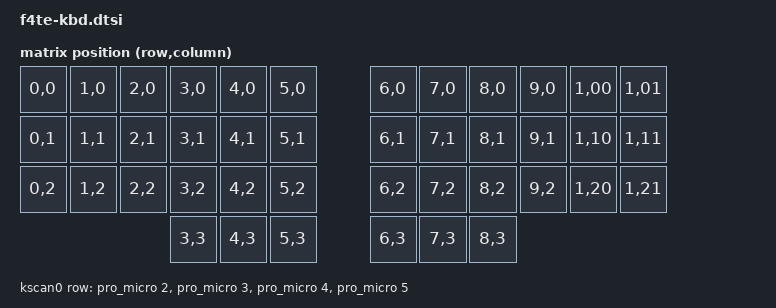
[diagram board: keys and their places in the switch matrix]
/*
 * Copyright (c) 2020 Pete Johanson
 *
 * SPDX-License-Identifier: MIT
 */

#include <dt-bindings/zmk/matrix_transform.h>

#include <layouts/foostan/corne/6column.dtsi>

&foostan_corne_6col_layout {
    transform = <&default_transform>;
};

/ {
    chosen {
        zmk,kscan = &kscan0;
        zmk,physical-layout = &foostan_corne_6col_layout;
    };

    default_transform: keymap_transform_0 {
        compatible = "zmk,matrix-transform";
        columns = <12>;
        rows = <4>;
// | SW1  | SW2  | SW3  | SW4  | SW5  | SW6  |   | SW6  | SW5  | SW4  | SW3  | SW2  | SW1  |
// | SW7  | SW8  | SW9  | SW10 | SW11 | SW12 |   | SW12 | SW11 | SW10 | SW9  | SW8  | SW7  |
// | SW13 | SW14 | SW15 | SW16 | SW17 | SW18 |   | SW18 | SW17 | SW16 | SW15 | SW14 | SW13 |
//                      | SW19 | SW20 | SW21 |   | SW21 | SW20 | SW19 |
        map = <
RC(0,0) RC(1,0) RC(2,0) RC(3,0) RC(4,0) RC(5,0)  RC(6,0) RC(7,0) RC(8,0) RC(9,0) RC(1,00) RC(1,01)
RC(0,1) RC(1,1) RC(2,1) RC(3,1) RC(4,1) RC(5,1)  RC(6,1) RC(7,1) RC(8,1) RC(9,1) RC(1,10) RC(1,11)
RC(0,2) RC(1,2) RC(2,2) RC(3,2) RC(4,2) RC(5,2)  RC(6,2) RC(7,2) RC(8,2) RC(9,2) RC(1,20) RC(1,21)
                        RC(3,3) RC(4,3) RC(5,3)  RC(6,3) RC(7,3) RC(8,3)
        >;
    };

    kscan0: kscan {
        compatible = "zmk,kscan-gpio-matrix";
        wakeup-source;

        diode-direction = "col2row";
        row-gpios
            = <&pro_micro 2 (GPIO_ACTIVE_HIGH | GPIO_PULL_DOWN)>
            , <&pro_micro 3 (GPIO_ACTIVE_HIGH | GPIO_PULL_DOWN)>
            , <&pro_micro 4 (GPIO_ACTIVE_HIGH | GPIO_PULL_DOWN)>
            , <&pro_micro 5 (GPIO_ACTIVE_HIGH | GPIO_PULL_DOWN)>
            ;
};
